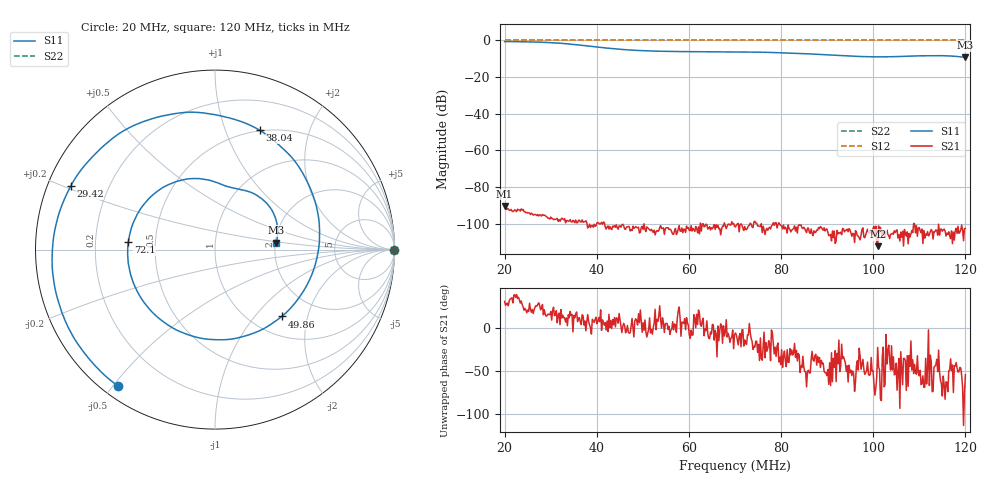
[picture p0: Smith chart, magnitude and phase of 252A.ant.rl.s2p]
! Anritsu VNA Master:  Model: MS2036C/10/77
! SN:  1601066
! /bd0/18may26.balun/2a.m.s2p
! Existing Calibration Information:
! TYPE:  Current Settings,  Active Cal Settings
! TIME:  05/26/2018 07:33:09 PM,  05/26/2018 07:26:54 PM
! INTERNAL TEMP:  45.3 C,  45.5 C
! # POINTS:  500,  500
! START FREQ:  20.000 MHz,  20.000 MHz
! STOP FREQ:  120.000 MHz,  120.000 MHz
! SOURCE POWER:  High,  High
! IFBW:  50 Hz,  50 Hz
! AVG FACTOR:  1 ,  1
! REF PLANE 1:  0 mm,  0 mm
! REF PLANE 2:  0 mm,  0 mm
! CAL TYPE:  Full S11,  Full S11
! CAL METHOD:  SOLT,  SOLT
! CAL LINE TYPE:  Coax,  Coax
! DUT PORT 1:  K-Conn(M),  K-Conn(M)
! DUT PORT 2:  K-Conn(M),  K-Conn(M)
! CAL STATUS:  OK: Accuracy High,  --
# GHZ S DB R 50.0
! FREQ.GHZ  S11DB  S11A  S21DB  S21A  S12DB  S12A  S22DB  S22A
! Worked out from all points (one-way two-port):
!   500 points, 20 MHz to 120 MHz, reference 50 ohm
!   highest |S21| = -90.25 dB at 20 MHz (marker M1); lowest = -112.2 dB at 101 MHz (marker M2)
!   lowest |S11| = -9.3 dB at 120 MHz (marker M3), VSWR 2.05, Z = 101 + j9.01 ohm
!   |S11| at or under -10 dB: nowhere
!   |S22| runs from 0.0 to 0.0 dB; largest |S21 - S12| = 1
!   S11 on the Smith chart (normalised r, x): 20 MHz: 0.04, -0.52; 29.42 MHz: 0.07, +0.21; 38.04 MHz: 0.49, +1.32; 49.86 MHz: 1.36, -1.40; 72.1 MHz: 0.35, +0.04; 120 MHz: 2.02, +0.18
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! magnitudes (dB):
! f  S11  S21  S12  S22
! 20 MHz  -0.6  -90.3  0.0  0.0
! 25.61 MHz  -0.8  -95.0  0.0  0.0
! 29.42 MHz  -1.1  -97.0  0.0  0.0
! 32.63 MHz  -1.6  -97.4  0.0  0.0
! 36.83 MHz  -2.7  -97.9  0.0  0.0
! 38.04 MHz  -3.0  -102.3  0.0  0.0
! 44.25 MHz  -4.6  -100.6  0.0  0.0
! 47.25 MHz  -5.2  -103.9  0.0  0.0
! 49.86 MHz  -5.6  -101.3  0.0  0.0
! 53.47 MHz  -5.9  -103.7  0.0  0.0
! 58.28 MHz  -6.1  -104.1  0.0  0.0
! 70.1 MHz  -6.2  -101.7  0.0  0.0
! 72.1 MHz  -6.3  -101.5  0.0  0.0
! 79.72 MHz  -6.7  -100.3  0.0  0.0
! 86.73 MHz  -7.4  -105.4  0.0  0.0
! 96.75 MHz  -8.7  -106.8  0.0  0.0
! 101 MHz  -8.9  -112.2  0.0  0.0
! 103.4 MHz  -8.9  -106.5  0.0  0.0
! 109.8 MHz  -8.4  -102.4  0.0  0.0
! 113.8 MHz  -8.3  -103.6  0.0  0.0
! 117.2 MHz  -8.5  -110.9  0.0  0.0
! 120 MHz  -9.3  -102.6  0.0  0.0
